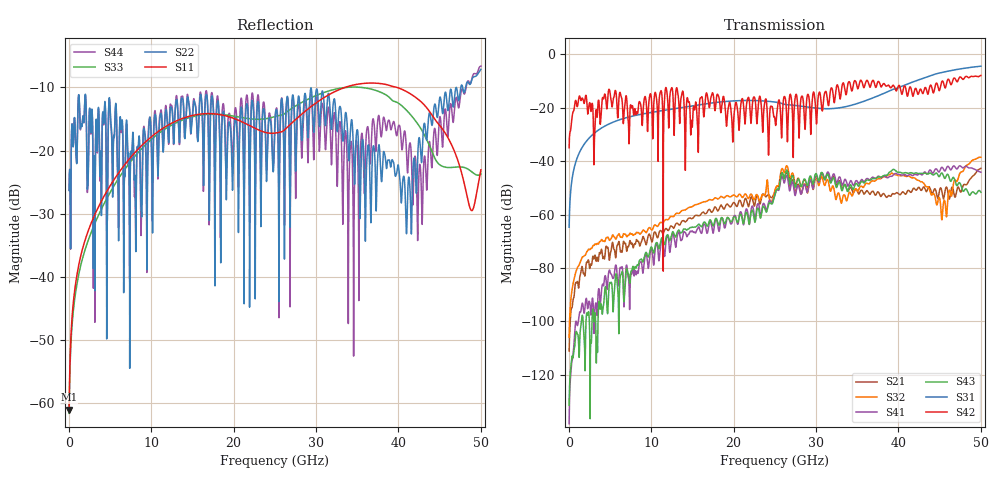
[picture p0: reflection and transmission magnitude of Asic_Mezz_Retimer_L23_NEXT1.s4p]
! Created Thu Jun 27 16:01:09 2019
# hz S ma R 50
! 4 Port Network Data from SP1.SP block
! freq  magS11  angS11  magS12  angS12  magS13  angS13  magS14  angS14
!  magS21  angS21  magS22  angS22  magS23  angS23  magS24  angS24
!  magS31  angS31  magS32  angS32  magS33  angS33  magS34  angS34
!  magS41  angS41  magS42  angS42  magS43  angS43  magS44  angS44
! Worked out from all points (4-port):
!   4996 points, 50 MHz to 50 GHz, reference 50 ohm
!   strongest paths, dB at 50 MHz, 12.54 GHz, 25.03 GHz, 37.52 GHz, 50 GHz:
!     S42: -35.0, -12.6, -24.7, -10.2, -7.9
!     S31: -64.7, -20.5, -17.9, -15.6, -4.4
!     S43: -131.4, -67.0, -52.5, -46.0, -51.7
!     S41: -138.3, -67.9, -52.5, -45.7, -44.2
!     S32: -106.0, -60.7, -51.0, -46.6, -38.6
!     S21: -111.1, -64.5, -50.9, -51.5, -42.7
!   lowest |S11| = -61.0 dB at 50 MHz (marker M1), VSWR 1.00, Z = 50.1 + j0.0697 ohm
!   |S11| at or under -10 dB: start of sweep to 33.49 GHz; 39.85 GHz to end of sweep
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5e7  0.0008868 51.7  2.773e-06 86.2  0.0005791 86.4  1.211e-07 108.5
     2.773e-06 86.2  0.04834 -87.8  5.031e-06 84.3  0.01778 52.9
     0.0005791 86.4  5.031e-06 84.3  0.0008289 47.9  2.679e-07 86.7
     1.211e-07 108.5  0.01778 52.9  2.679e-07 86.7  0.04846 -87.8
2.62e9  0.02557 69.9  0.0001095 42.4  0.02845 70.5  1.863e-05 -153.0
        0.0001095 42.4  0.1793 75.7  0.000224 42.3  0.1111 85.9
        0.02845 70.5  0.000224 42.3  0.02156 72.9  1.615e-06 135.8
        1.863e-05 -153.0  0.1111 85.9  1.615e-06 135.8  0.1762 75.3
1.266e10  0.167 -2.7  0.0005693 141.5  0.09473 15.2  0.0004536 58.7
          0.0005693 141.5  0.1548 -41.9  0.0009117 152.9  0.1531 -101.1
          0.09473 15.2  0.0009117 152.9  0.1615 3.2  0.0004739 76.7
          0.0004536 58.7  0.1531 -101.1  0.0004739 76.7  0.1452 -39.6
2.638e10  0.1503 -48.2  0.006084 84.1  0.1142 -99.9  0.005248 85.1
          0.006084 84.1  0.2235 -31.3  0.007982 87.2  0.1054 55.4
          0.1142 -99.9  0.007982 87.2  0.2005 -51.8  0.006599 85.6
          0.005248 85.1  0.1054 55.4  0.006599 85.6  0.2114 -42.4
4.097e10  0.2938 -124.6  0.002492 178.9  0.2729 69.7  0.005377 90.7
          0.002492 178.9  0.02204 -63.5  0.005148 -98.7  0.1944 -113.4
          0.2729 69.7  0.005148 -98.7  0.2091 -132.3  0.006027 167.5
          0.005377 90.7  0.1944 -113.4  0.006027 167.5  0.1004 -122.4
4.531e10  0.149 -153.8  0.002507 74.5  0.4582 17.3  0.007635 3.1
          0.002507 74.5  0.2035 -40.3  0.0008924 -82.2  0.3157 171.9
          0.4582 17.3  0.0008924 -82.2  0.07522 -115.3  0.005917 72.1
          0.007635 3.1  0.3157 171.9  0.005917 72.1  0.1102 -36.7
5e10  0.07038 42.5  0.007314 -114.3  0.5992 -46.0  0.006184 -175.2
      0.007314 -114.3  0.4404 -59.7  0.01177 -120.6  0.4016 52.2
      0.5992 -46.0  0.01177 -120.6  0.06526 -48.9  0.002613 130.0
      0.006184 -175.2  0.4016 52.2  0.002613 130.0  0.4665 -53.1
